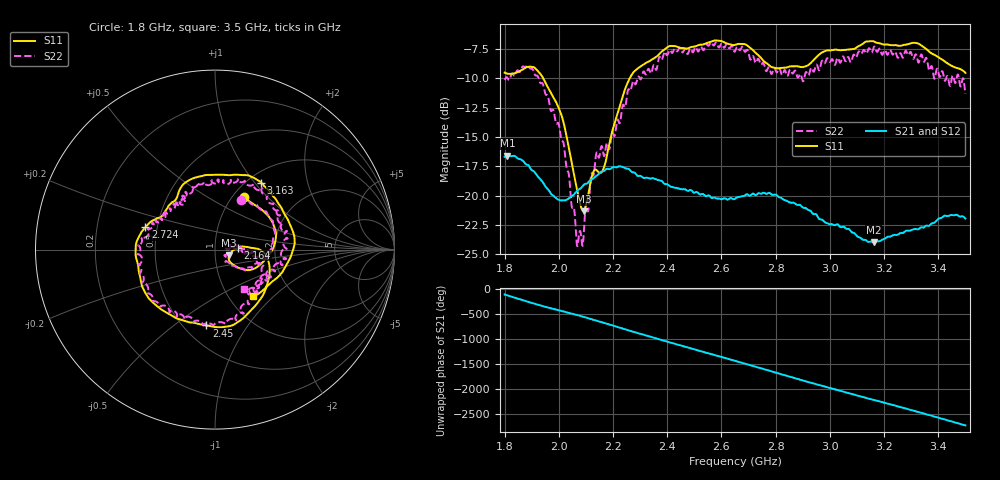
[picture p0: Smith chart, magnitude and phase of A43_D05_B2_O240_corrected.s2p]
! Created with skrf 1.9.0 (http://scikit-rf.org).
# Hz S RI R 50.0
!freq ReS11 ImS11 ReS21 ImS21 ReS12 ImS12 ReS22 ImS22
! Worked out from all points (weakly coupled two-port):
!   1601 points, 1.8 GHz to 3.5 GHz, reference 50 ohm
!   highest |S21| = -16.59 dB at 1.811 GHz (marker M1); lowest = -24.0 dB at 3.161 GHz (marker M2)
!   lowest |S11| = -21.3 dB at 2.091 GHz (marker M3), VSWR 1.19, Z = 58.5 - j3.78 ohm
!   |S11| at or under -10 dB: 1.942 GHz to 2.262 GHz (319.4 MHz wide, 15.2 % of centre)
!   |S22| runs from -24.3 to -6.9 dB; largest |S21 - S12| = 0.0023
!   S11 on the Smith chart (normalised r, x): 1.8 GHz: 1.13, +0.74; 2.164 GHz: 1.30, +0.03; 2.45 GHz: 0.64, -0.66; 2.724 GHz: 0.43, +0.13; 3.163 GHz: 1.15, +1.08; 3.5 GHz: 1.28, -0.75
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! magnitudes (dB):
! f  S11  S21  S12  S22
! 1.8 GHz  -9.5  -16.7  -16.7  -10.1
! 1.811 GHz  -9.6  -16.6  -16.6  -10.0
! 1.885 GHz  -9.0  -17.4  -17.4  -8.9
! 1.941 GHz  -10.0  -18.9  -18.9  -10.5
! 2.013 GHz  -13.4  -20.4  -20.4  -15.4
! 2.066 GHz  -19.3  -19.6  -19.6  -24.0
! 2.084 GHz  -21.1  -19.3  -19.3  -23.7
! 2.091 GHz  -21.3  -19.1  -19.1  -23.5
! 2.136 GHz  -17.8  -18.4  -18.4  -16.8
! 2.164 GHz  -17.7  -17.9  -17.9  -16.4
! 2.259 GHz  -10.1  -17.8  -17.8  -10.9
! 2.367 GHz  -8.0  -18.7  -18.6  -8.4
! 2.45 GHz  -7.4  -19.5  -19.4  -7.5
! 2.65 GHz  -7.2  -20.3  -20.2  -7.7
! 2.724 GHz  -7.8  -20.0  -19.9  -8.6
! 2.798 GHz  -9.1  -19.9  -19.9  -9.2
! 2.934 GHz  -8.6  -21.5  -21.4  -9.1
! 3.161 GHz  -6.9  -24.0  -23.9  -7.4
! 3.163 GHz  -6.9  -24.0  -23.9  -7.3
! 3.217 GHz  -7.1  -23.5  -23.5  -7.8
! 3.324 GHz  -7.0  -22.9  -22.8  -8.5
! 3.5 GHz  -9.5  -22.0  -21.9  -11.3
